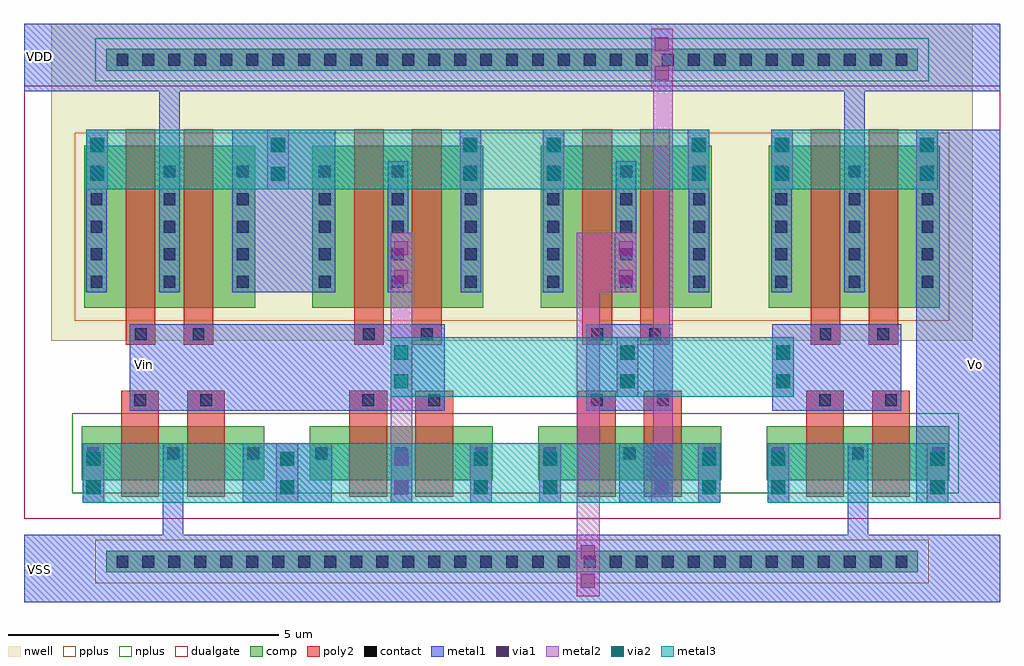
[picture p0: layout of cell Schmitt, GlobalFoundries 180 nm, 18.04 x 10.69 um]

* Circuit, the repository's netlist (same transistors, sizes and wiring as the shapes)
** sch_path: /foss/designs/libs/switch_matrix_gf180mcu_9t5v0/Schmitt/Schmitt.sch
.subckt Schmitt VDD Vin Vo VSS
*.PININFO VDD:I VSS:I Vin:I Vo:O
XM9 schmitt Vin bot VSS nfet_06v0 L=0.70u W=2u nf=2 m=1
XM10 schmitt Vin top VDD pfet_06v0 L=0.55u W=6u nf=2 m=1
XM11 VDD schmitt bot VSS nfet_06v0 L=0.70u W=2u nf=2 m=1
XM12 top Vin VDD VDD pfet_06v0 L=0.55u W=6u nf=2 m=1
XM13 Vo schmitt VSS VSS nfet_06v0 L=0.70u W=2u nf=2 m=1
XM14 Vo schmitt VDD VDD pfet_06v0 L=0.55u W=6u nf=2 m=1
XM15 VSS schmitt top VDD pfet_06v0 L=0.55u W=6u nf=2 m=1
XM1 bot Vin VSS VSS nfet_06v0 L=0.70u W=2u nf=2 m=1
.ends

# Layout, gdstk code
from math import pi, radians
import gdstk
lib = gdstk.Library(unit=1e-6, precision=5e-09)
def R(c, l, rs):  # rectangles x0, y0, x1, y1
    for r in rs: c.add(gdstk.rectangle(r[:2], r[2:], *l))
def A(c, l, x, y, w, h, nx, ny, dx, dy):  # array of equal rectangles
    R(c, l, [(x+i*dx, y+j*dy, x+i*dx+w, y+j*dy+h) for i in range(nx) for j in range(ny)])
nwell = (21, 0)
comp = (22, 0)
poly2 = (30, 0)
pplus = (31, 0)
nplus = (32, 0)
contact = (33, 0)
metal1 = (34, 0)
via1 = (35, 0)
metal2 = (36, 0)
via2 = (38, 0)
metal3 = (42, 0)
dualgate = (55, 0)

nfet = lib.new_cell('nfet')
R(nfet, comp, [(-0.42,0,0,1), (0,0,2.54,1), (2.54,0,2.96,1)])
R(nfet, poly2, [(0.31,-0.3,1.01,1.3), (1.53,-0.3,2.23,1.3), (0.31,1.3,1.01,1.66), (1.53,1.3,2.23,1.66)])
R(nfet, nplus, [(-0.59,-0.24,3.13,1.24)])
A(nfet, contact, -0.32, 0.39, 0.22, 0.22, 3, 1, 1.48, 0)
R(nfet, contact, [(0.55,1.37,0.77,1.59), (1.77,1.37,1.99,1.59)])
A(nfet, metal1, -0.4, 0.31, 0.38, 0.38, 3, 1, 1.48, 0)
R(nfet, metal1, [(0.47,1.29,0.85,1.67), (1.69,1.29,2.07,1.67)])
R(nfet, dualgate, [(-0.84,-0.71,3.38,2.08)])

pfet_1 = lib.new_cell('pfet$1')
R(pfet_1, nwell, [(-1.07,-0.61,3.31,3.61)])
R(pfet_1, comp, [(-0.46,0,0,3), (0,0,2.24,3), (2.24,0,2.7,3)])
R(pfet_1, poly2, [(0.31,-0.68,0.86,-0.3), (1.38,-0.68,1.93,-0.3), (0.31,-0.3,0.86,3.3), (1.38,-0.3,1.93,3.3)])
R(pfet_1, pplus, [(-0.63,-0.24,2.87,3.24)])
A(pfet_1, contact, -0.34, 0.37, 0.22, 0.22, 3, 5, 1.35, 0.51)
R(pfet_1, contact, [(0.475,-0.6,0.695,-0.38), (1.545,-0.6,1.765,-0.38)])
A(pfet_1, metal1, -0.42, 0.29, 0.38, 2.42, 3, 1, 1.35, 0)
R(pfet_1, metal1, [(0.395,-0.68,0.775,-0.3), (1.465,-0.68,1.845,-0.3)])
R(pfet_1, dualgate, [(-1.57,-1.11,3.81,4.11), (-0.88,-1.09,3.12,3.71)])

pfet = lib.new_cell('pfet')

via_dev_1 = lib.new_cell('via_dev$1')
R(via_dev_1, comp, [(0,0,15,0.4)])
A(via_dev_1, contact, 0.19, 0.09, 0.22, 0.22, 31, 1, 0.48, 0)
R(via_dev_1, metal1, [(0,0,15,0.4)])

via_dev = lib.new_cell('via_dev')
R(via_dev, metal1, [(0,0,1.1,0.4)])
R(via_dev, via1, [(0.155,0.07,0.415,0.33), (0.685,0.07,0.945,0.33)])
R(via_dev, metal2, [(0,0,1.1,0.4)])
R(via_dev, via2, [(0.155,0.07,0.415,0.33), (0.685,0.07,0.945,0.33)])
R(via_dev, metal3, [(0,0,1.1,0.4)])

via_dev_2 = lib.new_cell('via_dev$2')
R(via_dev_2, metal1, [(0,0,1.1,0.4)])
R(via_dev_2, via1, [(0.155,0.07,0.415,0.33), (0.685,0.07,0.945,0.33)])
R(via_dev_2, metal2, [(0,0,1.1,0.4)])

via_dev_4 = lib.new_cell('via_dev$4')
R(via_dev_4, metal2, [(0,0,1.1,0.4)])
R(via_dev_4, via2, [(0.155,0.07,0.415,0.33), (0.685,0.07,0.945,0.33)])
R(via_dev_4, metal3, [(0,0,1.1,0.4)])

schmitt = lib.new_cell('Schmitt')
R(schmitt, nwell, [(-1.53,6.955,15.51,8.595)])
R(schmitt, pplus, [(-0.71,-1.745,14.69,-0.945), (-1.09,3.105,15.07,6.585)])
R(schmitt, nplus, [(-1.135,-0.085,15.245,1.395), (-0.71,7.53,14.69,8.33)])
R(schmitt, metal1, [(-2.03,-2.095,16.01,-0.845), (0.535,-0.845,0.915,0.465), (13.195,-0.845,13.575,0.845), (2.015,-0.255,3.655,0.47), (8.975,-0.255,9.96,0.845), (14.46,-0.255,16.01,6.64), (2.015,0.465,3.655,0.845), (-0.075,1.445,5.745,3.045), (8.365,1.445,9.965,3.045), (11.8,1.445,14.185,3.045), (1.82,3.635,3.72,6.055), (0.47,6.055,0.85,7.345), (1.82,6.055,3.72,6.64), (13.13,6.055,13.51,7.345), (-2.03,7.345,16.01,8.595)])
R(schmitt, metal2, [(8.19,-1.985,8.615,4.735), (4.745,-0.255,5.145,4.735), (9.605,-0.255,9.96,8.505), (8.19,3.635,9.29,4.735)])
R(schmitt, metal3, [(-0.945,-0.255,10.835,0.845), (11.715,-0.255,15.055,0.845), (4.745,1.705,12.2,2.805), (-0.88,5.54,10.64,6.64), (11.78,5.54,14.86,6.64)])
R(schmitt, dualgate, [(-2.03,-0.555,-1.385,2.235), (15.495,-0.555,16.01,2.235)])
schmitt.add(gdstk.Reference(nfet, (-0.545,0.155)))
schmitt.add(gdstk.Reference(nfet, (3.675,0.155)))
schmitt.add(gdstk.Reference(pfet_1, (3.76,3.345)))
schmitt.add(gdstk.Reference(nfet, (7.895,0.155)))
schmitt.add(gdstk.Reference(pfet, (-14.63,1.335)))
schmitt.add(gdstk.Reference(pfet_1, (-0.46,3.345)))
schmitt.add(gdstk.Reference(nfet, (12.115,0.155)))
schmitt.add(gdstk.Reference(pfet_1, (12.2,3.345)))
schmitt.add(gdstk.Reference(pfet_1, (7.98,3.345)))
schmitt.add(gdstk.Reference(via_dev_1, (-0.51,-1.545)))
schmitt.add(gdstk.Reference(via_dev_1, (-0.51,7.73)))
schmitt.add(gdstk.Reference(via_dev, (-0.48,5.54), rotation=pi/2))
schmitt.add(gdstk.Reference(via_dev, (2.865,5.54), rotation=pi/2))
schmitt.add(gdstk.Reference(via_dev, (-0.545,-0.255), rotation=pi/2))
schmitt.add(gdstk.Reference(via_dev, (6.42,5.54), rotation=pi/2))
schmitt.add(gdstk.Reference(via_dev, (3.035,-0.255), rotation=pi/2))
schmitt.add(gdstk.Reference(via_dev, (6.615,-0.255), rotation=pi/2))
schmitt.add(gdstk.Reference(via_dev_2, (5.145,-0.255), rotation=pi/2))
schmitt.add(gdstk.Reference(via_dev_2, (5.145,3.635), rotation=pi/2))
schmitt.add(gdstk.Reference(via_dev_4, (5.145,1.705), rotation=pi/2))
schmitt.add(gdstk.Reference(via_dev, (9.325,1.705), rotation=pi/2))
schmitt.add(gdstk.Reference(via_dev, (12.2,1.705), rotation=pi/2))
schmitt.add(gdstk.Reference(via_dev, (12.18,5.54), rotation=pi/2))
schmitt.add(gdstk.Reference(via_dev, (14.86,5.54), rotation=pi/2))
schmitt.add(gdstk.Reference(via_dev, (12.115,-0.255), rotation=pi/2))
schmitt.add(gdstk.Reference(via_dev, (15.055,-0.255), rotation=pi/2))
schmitt.add(gdstk.Reference(via_dev, (7.895,-0.255), rotation=pi/2))
schmitt.add(gdstk.Reference(via_dev, (10.835,-0.255), rotation=pi/2))
schmitt.add(gdstk.Reference(via_dev, (7.96,5.54), rotation=pi/2))
schmitt.add(gdstk.Reference(via_dev, (10.64,5.54), rotation=pi/2))
schmitt.add(gdstk.Reference(via_dev, (10.64,5.54), rotation=pi/2))
schmitt.add(gdstk.Reference(via_dev_2, (9.96,-0.255), rotation=pi/2))
schmitt.add(gdstk.Reference(via_dev_2, (9.96,7.405), rotation=pi/2))
schmitt.add(gdstk.Reference(via_dev_2, (9.29,3.635), rotation=pi/2))
schmitt.add(gdstk.Reference(via_dev_2, (8.59,-1.985), rotation=pi/2))
schmitt.add(gdstk.Label('VDD', (-1.75,7.99), layer=34, texttype=10))
schmitt.add(gdstk.Label('VSS', (-1.75,-1.49), layer=34, texttype=10))
schmitt.add(gdstk.Label('Vin', (0.19,2.305), layer=34, texttype=10))
schmitt.add(gdstk.Label('Vo', (15.565,2.305), layer=34, texttype=10))

lib.write_gds('Schmitt.gds')
